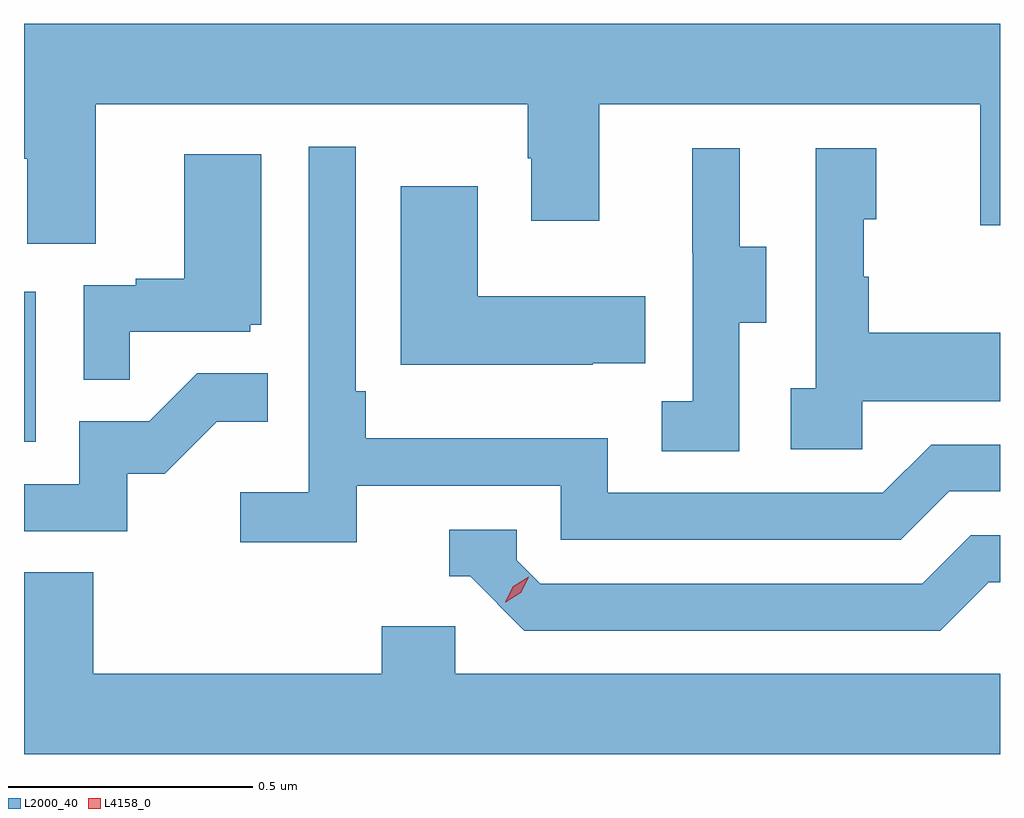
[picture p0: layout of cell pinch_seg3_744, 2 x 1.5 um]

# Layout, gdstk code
import gdstk
lib = gdstk.Library(unit=1e-6, precision=1e-09)
def R(c, l, rs):  # rectangles x0, y0, x1, y1
    for r in rs: c.add(gdstk.rectangle(r[:2], r[2:], *l))
def P(c, l, *ps):  # polygons
    for p in ps: c.add(gdstk.Polygon(p, *l))
L2000_40 = (2000, 40)
L4158_0 = (4158, 0)

pinch_seg3_744 = lib.new_cell('pinch_seg3_744')
R(pinch_seg3_744, L2000_40, [(885.85,744.18,885.874,744.487)])
P(pinch_seg3_744, L2000_40, [(885.997,744.872),(886.882,744.872),(886.882,744.761),(886.889,744.761),(886.889,744.633),(887.029,744.633),(887.029,744.872),(887.81,744.872),(887.81,744.624),(887.85,744.624),(887.85,745.036),(885.85,745.036),(885.85,744.76),(885.857,744.76),(885.857,744.586),(885.997,744.586)],
  [(886.532,744.09),(886.95,744.09),(886.95,743.979),(887.647,743.979),(887.746,744.078),(887.85,744.078),(887.85,744.174),(887.709,744.174),(887.61,744.075),(887.046,744.075),(887.046,744.187),(886.55,744.187),(886.55,744.283),(886.53,744.283),(886.53,744.784),(886.434,744.784),(886.434,744.076),(886.293,744.076),(886.293,743.974),(886.532,743.974)],
  [(887.316,744.424),(887.371,744.424),(887.371,744.579),(887.317,744.579),(887.317,744.781),(887.219,744.781),(887.219,744.567),(887.22,744.567),(887.22,744.263),(887.157,744.263),(887.157,744.16),(887.316,744.16)],
  [(887.568,744.263),(887.85,744.263),(887.85,744.403),(887.581,744.403),(887.581,744.518),(887.571,744.518),(887.571,744.636),(887.596,744.636),(887.596,744.781),(887.472,744.781),(887.472,744.29),(887.421,744.29),(887.421,744.165),(887.568,744.165)],
  [(886.067,744.405),(886.314,744.405),(886.314,744.42),(886.336,744.42),(886.336,744.769),(886.178,744.769),(886.178,744.514),(886.079,744.514),(886.079,744.501),(885.972,744.501),(885.972,744.307),(886.067,744.307)],
  [(887.015,744.341),(887.123,744.341),(887.123,744.478),(886.78,744.478),(886.78,744.703),(886.622,744.703),(886.622,744.338),(887.015,744.338)],
  [(886.062,744.114),(886.138,744.114),(886.245,744.221),(886.349,744.221),(886.349,744.32),(886.205,744.32),(886.107,744.222),(885.963,744.222),(885.963,744.093),(885.85,744.093),(885.85,743.997),(886.062,743.997)],
  [(887.827,743.892),(887.85,743.892),(887.85,743.988),(887.79,743.988),(887.691,743.889),(886.908,743.889),(886.86,743.937),(886.86,744),(886.721,744),(886.721,743.904),(886.764,743.904),(886.875,743.793),(887.728,743.793)],
  [(887.85,743.704),(886.734,743.704),(886.734,743.802),(886.583,743.802),(886.583,743.704),(885.992,743.704),(885.992,743.912),(885.85,743.912),(885.85,743.54),(887.85,743.54)])
P(pinch_seg3_744, L4158_0, [(886.836,743.851),(886.836,743.852),(886.853,743.884),(886.884,743.903),(886.884,743.903),(886.884,743.902),(886.868,743.87),(886.837,743.851)])

lib.write_gds('pinch_seg3_744.gds')
